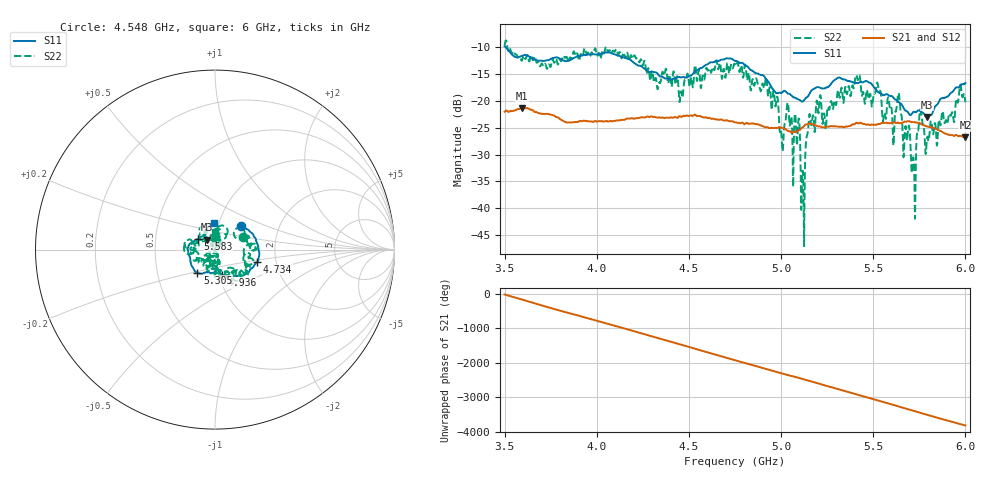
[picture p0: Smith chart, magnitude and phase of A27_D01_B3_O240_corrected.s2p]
! Created with skrf 1.9.0 (http://scikit-rf.org).
# Hz S RI R 50.0
!freq ReS11 ImS11 ReS21 ImS21 ReS12 ImS12 ReS22 ImS22
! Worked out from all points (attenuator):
!   1601 points, 3.5 GHz to 6 GHz, reference 50 ohm
!   highest |S21| = -21.34 dB at 3.592 GHz (marker M1); lowest = -26.8 dB at 6 GHz (marker M2)
!   lowest |S11| = -23.0 dB at 5.791 GHz (marker M3), VSWR 1.15, Z = 45.5 + j5.08 ohm
!   |S11| at or under -10 dB: 3.504 GHz to end of sweep
!   |S22| runs from -47.1 to -8.8 dB; largest |S21 - S12| = 0.0013
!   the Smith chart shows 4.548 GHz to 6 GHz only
!   S11 on the Smith chart (normalised r, x): 4.548 GHz: 1.29, +0.35; 4.734 GHz: 1.60, -0.23; 4.936 GHz: 1.04, -0.30; 5.305 GHz: 0.80, -0.21; 5.583 GHz: 0.82, +0.10; 6 GHz: 0.95, +0.28
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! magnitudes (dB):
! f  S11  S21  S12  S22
! 3.5 GHz  -9.9  -22.0  -22.0  -9.7
! 3.592 GHz  -11.7  -21.3  -21.4  -12.5
! 3.917 GHz  -11.6  -23.8  -23.8  -11.4
! 4.334 GHz  -15.1  -23.1  -23.0  -17.2
! 4.548 GHz  -14.2  -22.8  -22.9  -15.4
! 4.734 GHz  -12.2  -23.8  -23.9  -13.9
! 4.75 GHz  -12.6  -24.0  -24.0  -13.2
! 4.936 GHz  -16.7  -25.1  -25.1  -17.7
! 5.003 GHz  -18.5  -25.0  -25.1  -27.0
! 5.088 GHz  -19.6  -25.7  -25.7  -27.8
! 5.117 GHz  -20.1  -25.0  -24.9  -33.0
! 5.145 GHz  -19.2  -24.3  -24.3  -25.7
! 5.167 GHz  -18.0  -24.3  -24.3  -24.2
! 5.305 GHz  -15.8  -24.8  -24.8  -18.9
! 5.416 GHz  -16.7  -24.1  -24.2  -16.1
! 5.583 GHz  -19.0  -24.2  -24.2  -19.5
! 5.584 GHz  -19.0  -24.2  -24.2  -19.8
! 5.642 GHz  -20.4  -24.2  -24.1  -19.6
! 5.717 GHz  -22.1  -24.0  -23.9  -30.5
! 5.752 GHz  -21.8  -24.2  -24.1  -22.3
! 5.791 GHz  -23.0  -24.7  -24.7  -27.4
! 6 GHz  -16.7  -26.8  -26.7  -20.3
